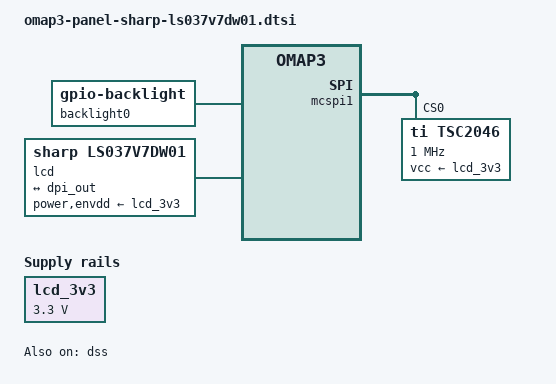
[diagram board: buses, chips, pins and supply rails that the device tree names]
// SPDX-License-Identifier: GPL-2.0
/*
 * Common file for omap dpi panels with QVGA and reset pins
 *
 * Note that the board specifc DTS file needs to specify
 * at minimum the GPIO enable-gpios for display, and
 * gpios for gpio-backlight.
 */

/ {
	aliases {
		display0 = &lcd0;
	};

	backlight0: backlight {
		compatible = "gpio-backlight";
		default-on;
	};

	/* 3.3V GPIO controlled regulator for LCD_ENVDD */
	lcd_3v3: regulator-lcd-3v3 {
		compatible = "regulator-fixed";
		regulator-name = "lcd_3v3";
		regulator-min-microvolt = <3300000>;
		regulator-max-microvolt = <3300000>;
		startup-delay-us = <70000>;
	};

	lcd0: display {
		compatible = "sharp,ls037v7dw01";
		label = "lcd";
		power-supply = <&lcd_3v3>;
		envdd-supply = <&lcd_3v3>;

		port {
			lcd_in: endpoint {
				remote-endpoint = <&dpi_out>;
			};
		};
	};
};

/* Needed to power the DPI pins */
&vpll2 {
	regulator-always-on;
};

&dss {
	status = "ok";
	port {
		dpi_out: endpoint {
			remote-endpoint = <&lcd_in>;
			data-lines = <18>;
		};
	};
};

&mcspi1 {
	tsc2046@0 {
		reg = <0>;			/* CS0 */
		compatible = "ti,tsc2046";
		spi-max-frequency = <1000000>;
		vcc-supply = <&lcd_3v3>;
		ti,x-min = /bits/ 16 <0>;
		ti,x-max = /bits/ 16 <8000>;
		ti,y-min = /bits/ 16 <0>;
		ti,y-max = /bits/ 16 <4800>;
		ti,x-plate-ohms = /bits/ 16 <40>;
		ti,pressure-max = /bits/ 16 <255>;
		ti,swap-xy;
		wakeup-source;
	};
};
